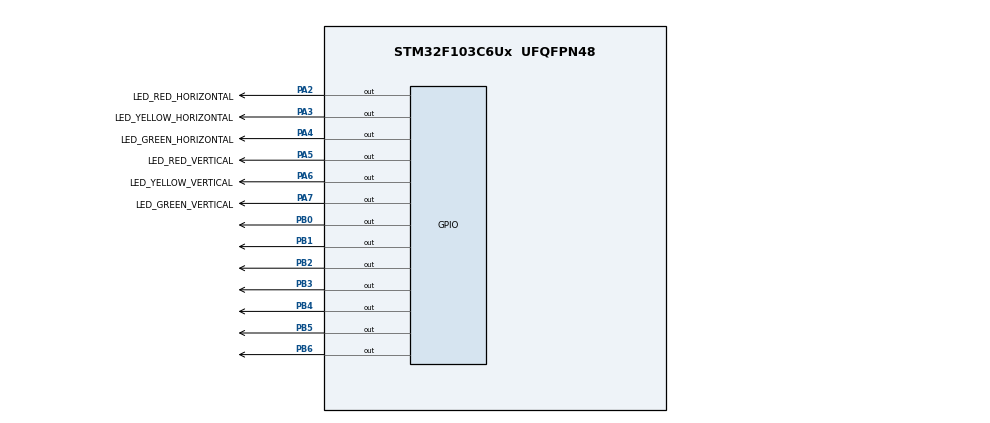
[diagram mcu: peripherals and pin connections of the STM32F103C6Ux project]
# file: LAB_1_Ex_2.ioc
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Mcu.Family=STM32F1
Mcu.Name=STM32F103C6Ux
Mcu.Package=UFQFPN48
NVIC.PriorityGroup=NVIC_PRIORITYGROUP_4
PA2.GPIO_Label=LED_RED_HORIZONTAL
PA2.Signal=GPIO_Output
PA3.GPIO_Label=LED_YELLOW_HORIZONTAL
PA3.Signal=GPIO_Output
PA4.GPIO_Label=LED_GREEN_HORIZONTAL
PA4.Signal=GPIO_Output
PA5.GPIO_Label=LED_RED_VERTICAL
PA5.Signal=GPIO_Output
PA6.GPIO_Label=LED_YELLOW_VERTICAL
PA6.Signal=GPIO_Output
PA7.GPIO_Label=LED_GREEN_VERTICAL
PA7.Signal=GPIO_Output
PB0.Signal=GPIO_Output
PB1.Signal=GPIO_Output
PB2.Signal=GPIO_Output
PB3.Signal=GPIO_Output
PB4.Signal=GPIO_Output
PB5.Signal=GPIO_Output
PB6.Signal=GPIO_Output
ProjectManager.HeapSize=0x200
ProjectManager.StackSize=0x400
ProjectManager.TargetToolchain=STM32CubeIDE
RCC.APB1Freq_Value=8000000
RCC.APB2Freq_Value=8000000
VP_SYS_VS_ND.Mode=No_Debug
board=custom

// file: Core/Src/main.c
/* USER CODE BEGIN Header */
/**
  ******************************************************************************
  * @file           : main.c
  * @brief          : Main program body
  ******************************************************************************
  * @attention
  *
  * <h2><center>&copy; Copyright (c) 2025 STMicroelectronics.
  * All rights reserved.</center></h2>
  *
  * This software component is licensed by ST under BSD 3-Clause license,
  * the "License"; You may not use this file except in compliance with the
  * License. You may obtain a copy of the License at:
  *                        opensource.org/licenses/BSD-3-Clause
  *
  ******************************************************************************
  */
/* USER CODE END Header */
#include "main.h"

void SystemClock_Config(void);
static void MX_GPIO_Init(void);

int main(void)
{

  /* MCU Configuration--------------------------------------------------------*/

  /* Reset of all peripherals, Initializes the Flash interface and the Systick. */
  HAL_Init();

  /* Configure the system clock */
  SystemClock_Config();

  /* Initialize all configured peripherals */
  MX_GPIO_Init();

  /* Infinite loop */
  /* USER CODE BEGIN WHILE */

   void display7segment(int num){
	  const uint8_t segment_data[10] = {
	      0b1111110,
		  0b0110000,
		  0b1101101,
		  0b1111001,
		  0b0110011,
		  0b1011011,
		  0b1011111,
		  0b1110000,
		  0b1111111,
		  0b1111011,
	  };

	  if( num<0 || num>9 ) return; //ktra gt hop le

	  uint8_t data = segment_data[num];
	  	    HAL_GPIO_WritePin(GPIOB, GPIO_PIN_6, !(data & 0x01));
	  	    HAL_GPIO_WritePin(GPIOB, GPIO_PIN_5, !(data & 0x02));
	  	    HAL_GPIO_WritePin(GPIOB, GPIO_PIN_4, !(data & 0x04));
	  	    HAL_GPIO_WritePin(GPIOB, GPIO_PIN_3, !(data & 0x08));
	  	    HAL_GPIO_WritePin(GPIOB, GPIO_PIN_2, !(data & 0x10));
	  	    HAL_GPIO_WritePin(GPIOB, GPIO_PIN_1, !(data & 0x20));
	  	    HAL_GPIO_WritePin(GPIOB, GPIO_PIN_0, !(data & 0x40));

  }

 void display_qt1(){
	 for(int num=10; num>=0; num--){
		 //DO NGANG - XANH DOC
		 HAL_GPIO_WritePin(LED_RED_HORIZONTAL_GPIO_Port, LED_RED_HORIZONTAL_Pin, SET );
		 HAL_GPIO_WritePin(LED_YELLOW_HORIZONTAL_GPIO_Port, LED_YELLOW_HORIZONTAL_Pin, RESET );
		 HAL_GPIO_WritePin(LED_GREEN_HORIZONTAL_GPIO_Port, LED_GREEN_HORIZONTAL_Pin, RESET );

		 HAL_GPIO_WritePin(LED_RED_VERTICAL_GPIO_Port, LED_RED_VERTICAL_Pin, RESET);

		 if(num <= 3){
			 HAL_GPIO_WritePin(LED_YELLOW_VERTICAL_GPIO_Port, LED_YELLOW_VERTICAL_Pin, SET );
			 HAL_GPIO_WritePin(LED_GREEN_VERTICAL_GPIO_Port, LED_GREEN_VERTICAL_Pin, RESET );

		 }else{
			 HAL_GPIO_WritePin(LED_GREEN_VERTICAL_GPIO_Port, LED_GREEN_VERTICAL_Pin, SET );
			 HAL_GPIO_WritePin(LED_YELLOW_VERTICAL_GPIO_Port, LED_YELLOW_VERTICAL_Pin, RESET );
		 }

		 display7segment(num);
		 HAL_Delay(1000);
	 }

 }

 void display_qt2(){
	 //XANH NGANG - DO DOC
	 for(int num=10 ; num>=0 ; num--){
	 HAL_GPIO_WritePin(LED_RED_VERTICAL_GPIO_Port, LED_RED_VERTICAL_Pin, SET);
	 HAL_GPIO_WritePin(LED_GREEN_VERTICAL_GPIO_Port, LED_GREEN_VERTICAL_Pin, RESET );
	 HAL_GPIO_WritePin(LED_YELLOW_VERTICAL_GPIO_Port, LED_YELLOW_VERTICAL_Pin, RESET );

	 HAL_GPIO_WritePin(LED_RED_HORIZONTAL_GPIO_Port, LED_RED_HORIZONTAL_Pin, RESET);

	 if(num <= 3){
	 	HAL_GPIO_WritePin(LED_YELLOW_HORIZONTAL_GPIO_Port, LED_YELLOW_HORIZONTAL_Pin, SET );
	 	HAL_GPIO_WritePin(LED_GREEN_HORIZONTAL_GPIO_Port, LED_GREEN_HORIZONTAL_Pin, RESET );

	 }else{
	 	HAL_GPIO_WritePin(LED_GREEN_VERTICAL_GPIO_Port, LED_GREEN_HORIZONTAL_Pin, SET );
	 	HAL_GPIO_WritePin(LED_YELLOW_VERTICAL_GPIO_Port, LED_YELLOW_HORIZONTAL_Pin, RESET );
	 }

	 	display7segment(num);
	 	HAL_Delay(1000);

	 }
 }

  while (1)
  {
    /* USER CODE END WHILE */
	  display_qt1();
	  display_qt2();
    /* USER CODE BEGIN 3 */

	  /* USER CODE END WHILE */
	  	    /* USER CODE END WHILE */
	  	  /*
	  	  //LAB_1_Ex_3
	  		  //DO ngang + Xanh doc 10s
	  		      HAL_GPIO_WritePin(LED_RED_HORIZONTAL_GPIO_Port, LED_RED_HORIZONTAL_Pin, SET);
	  		      HAL_GPIO_WritePin(LED_GREEN_VERTICAL_GPIO_Port, LED_GREEN_VERTICAL_Pin, SET);

	  		  	  }

	  		  //Do ngang 3s + Vang doc 3s
	  		  	  HAL_GPIO_WritePin(LED_GREEN_VERTICAL_GPIO_Port, LED_GREEN_VERTICAL_Pin, RESET);
	  		  	  HAL_GPIO_WritePin(LED_RED_HORIZONTAL_GPIO_Port, LED_RED_HORIZONTAL_Pin, SET);
	  		  	  HAL_GPIO_WritePin(LED_YELLOW_VERTICAL_GPIO_Port, LED_YELLOW_VERTICAL_Pin, SET);
	  		  	  HAL_Delay(2000);

	  		  //XANH 10s ngang 10s + DO doc 10s
	  		  	  HAL_GPIO_WritePin(LED_RED_HORIZONTAL_GPIO_Port, LED_RED_HORIZONTAL_Pin, RESET);
	  		  	  HAL_GPIO_WritePin(LED_RED_VERTICAL_GPIO_Port, LED_RED_VERTICAL_Pin, SET);
	  		  	  HAL_GPIO_WritePin(LED_YELLOW_VERTICAL_GPIO_Port, LED_YELLOW_VERTICAL_Pin, RESET);
	  		  	  HAL_GPIO_WritePin(LED_GREEN_HORIZONTAL_GPIO_Port, LED_GREEN_HORIZONTAL_Pin, SET);
	  		  	  HAL_Delay(5000);

	  		  //Vang ngang 3s + Do doc 3s
	  		  	  HAL_GPIO_WritePin(LED_GREEN_HORIZONTAL_GPIO_Port, LED_GREEN_HORIZONTAL_Pin, RESET);
	  		  	  HAL_GPIO_WritePin(LED_YELLOW_HORIZONTAL_GPIO_Port, LED_YELLOW_HORIZONTAL_Pin, SET);
	  		  	  HAL_GPIO_WritePin(LED_RED_VERTICAL_GPIO_Port, LED_RED_VERTICAL_Pin, SET);
	  		  	  HAL_Delay(2000);
	  		  	  HAL_GPIO_WritePin(LED_YELLOW_HORIZONTAL_GPIO_Port, LED_YELLOW_HORIZONTAL_Pin, RESET);
	  		  	  HAL_GPIO_WritePin(LED_RED_VERTICAL_GPIO_Port, LED_RED_VERTICAL_Pin, RESET);
	  		*/
  }
  /* USER CODE END 3 */
}

void SystemClock_Config(void)
{
  RCC_OscInitTypeDef RCC_OscInitStruct = {0};
  RCC_ClkInitTypeDef RCC_ClkInitStruct = {0};

  /** Initializes the RCC Oscillators according to the specified parameters
  * in the RCC_OscInitTypeDef structure.
  */
  RCC_OscInitStruct.OscillatorType = RCC_OSCILLATORTYPE_HSI;
  RCC_OscInitStruct.HSIState = RCC_HSI_ON;
  RCC_OscInitStruct.HSICalibrationValue = RCC_HSICALIBRATION_DEFAULT;
  RCC_OscInitStruct.PLL.PLLState = RCC_PLL_NONE;
  if (HAL_RCC_OscConfig(&RCC_OscInitStruct) != HAL_OK)
  {
    Error_Handler();
  }
  /** Initializes the CPU, AHB and APB buses clocks
  */
  RCC_ClkInitStruct.ClockType = RCC_CLOCKTYPE_HCLK|RCC_CLOCKTYPE_SYSCLK
                              |RCC_CLOCKTYPE_PCLK1|RCC_CLOCKTYPE_PCLK2;
  RCC_ClkInitStruct.SYSCLKSource = RCC_SYSCLKSOURCE_HSI;
  RCC_ClkInitStruct.AHBCLKDivider = RCC_SYSCLK_DIV1;
  RCC_ClkInitStruct.APB1CLKDivider = RCC_HCLK_DIV1;
  RCC_ClkInitStruct.APB2CLKDivider = RCC_HCLK_DIV1;

  if (HAL_RCC_ClockConfig(&RCC_ClkInitStruct, FLASH_LATENCY_0) != HAL_OK)
  {
    Error_Handler();
  }
}

static void MX_GPIO_Init(void)
{
  GPIO_InitTypeDef GPIO_InitStruct = {0};

  /* GPIO Ports Clock Enable */
  __HAL_RCC_GPIOA_CLK_ENABLE();
  __HAL_RCC_GPIOB_CLK_ENABLE();

  /*Configure GPIO pin Output Level */
  HAL_GPIO_WritePin(GPIOA, LED_RED_HORIZONTAL_Pin|LED_YELLOW_HORIZONTAL_Pin|LED_GREEN_HORIZONTAL_Pin|LED_RED_VERTICAL_Pin
                          |LED_YELLOW_VERTICAL_Pin|LED_GREEN_VERTICAL_Pin, GPIO_PIN_RESET);

  /*Configure GPIO pin Output Level */
  HAL_GPIO_WritePin(GPIOB, GPIO_PIN_0|GPIO_PIN_1|GPIO_PIN_2|GPIO_PIN_3
                          |GPIO_PIN_4|GPIO_PIN_5|GPIO_PIN_6, GPIO_PIN_RESET);

  /*Configure GPIO pins : LED_RED_HORIZONTAL_Pin LED_YELLOW_HORIZONTAL_Pin LED_GREEN_HORIZONTAL_Pin LED_RED_VERTICAL_Pin
                           LED_YELLOW_VERTICAL_Pin LED_GREEN_VERTICAL_Pin */
  GPIO_InitStruct.Pin = LED_RED_HORIZONTAL_Pin|LED_YELLOW_HORIZONTAL_Pin|LED_GREEN_HORIZONTAL_Pin|LED_RED_VERTICAL_Pin
                          |LED_YELLOW_VERTICAL_Pin|LED_GREEN_VERTICAL_Pin;
  GPIO_InitStruct.Mode = GPIO_MODE_OUTPUT_PP;
  GPIO_InitStruct.Pull = GPIO_NOPULL;
  GPIO_InitStruct.Speed = GPIO_SPEED_FREQ_LOW;
  HAL_GPIO_Init(GPIOA, &GPIO_InitStruct);

  /*Configure GPIO pins : PB0 PB1 PB2 PB3
                           PB4 PB5 PB6 */
  GPIO_InitStruct.Pin = GPIO_PIN_0|GPIO_PIN_1|GPIO_PIN_2|GPIO_PIN_3
                          |GPIO_PIN_4|GPIO_PIN_5|GPIO_PIN_6;
  GPIO_InitStruct.Mode = GPIO_MODE_OUTPUT_PP;
  GPIO_InitStruct.Pull = GPIO_NOPULL;
  GPIO_InitStruct.Speed = GPIO_SPEED_FREQ_LOW;
  HAL_GPIO_Init(GPIOB, &GPIO_InitStruct);

}

void Error_Handler(void)
{
  __disable_irq();
  while (1)
  {
  }
}

/************************ (C) COPYRIGHT STMicroelectronics *****END OF FILE****/
